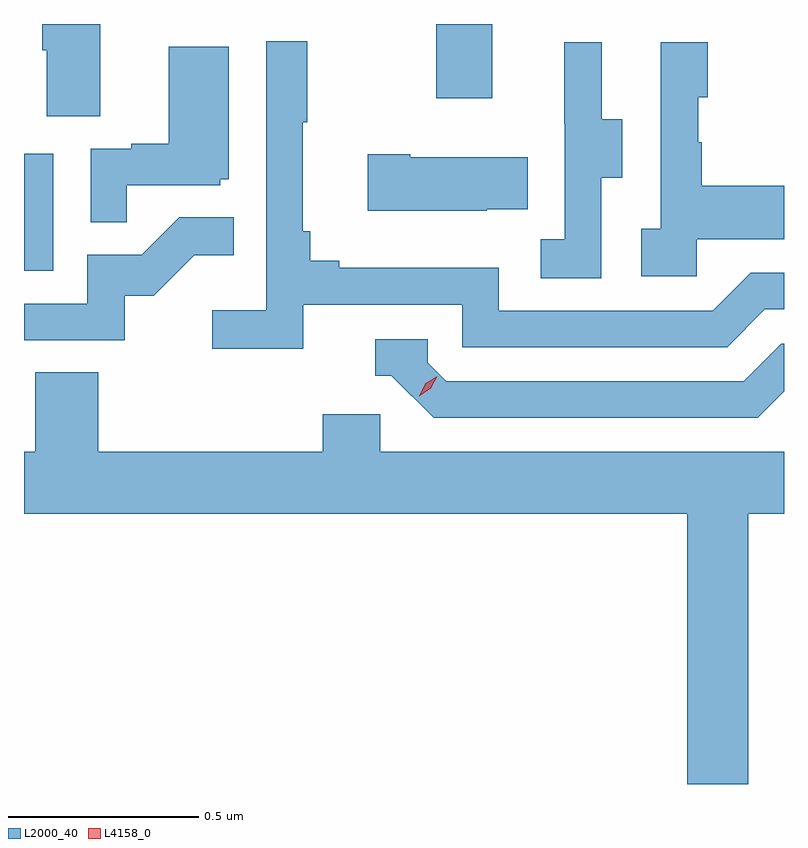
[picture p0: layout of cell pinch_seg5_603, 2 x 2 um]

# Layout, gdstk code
import gdstk
lib = gdstk.Library(unit=1e-6, precision=1e-09)
def R(c, l, rs):  # rectangles x0, y0, x1, y1
    for r in rs: c.add(gdstk.rectangle(r[:2], r[2:], *l))
def P(c, l, *ps):  # polygons
    for p in ps: c.add(gdstk.Polygon(p, *l))
L2000_40 = (2000, 40)
L4158_0 = (4158, 0)

pinch_seg5_603 = lib.new_cell('pinch_seg5_603')
R(pinch_seg5_603, L2000_40, [(1084.931,858.732,1085.008,859.039), (1086.016,859.185,1086.163,859.381)])
P(pinch_seg5_603, L2000_40, [(1085.131,859.381),(1084.979,859.381),(1084.979,859.312),(1084.991,859.312),(1084.991,859.138),(1085.131,859.138)],
  [(1085.666,858.642),(1086.084,858.642),(1086.084,858.531),(1086.781,858.531),(1086.88,858.63),(1086.931,858.63),(1086.931,858.726),(1086.843,858.726),(1086.744,858.627),(1086.18,858.627),(1086.18,858.739),(1085.761,858.739),(1085.761,858.758),(1085.684,858.758),(1085.684,858.835),(1085.665,858.835),(1085.665,859.123),(1085.677,859.123),(1085.677,859.336),(1085.568,859.336),(1085.568,858.628),(1085.427,858.628),(1085.427,858.526),(1085.666,858.526)],
  [(1086.45,858.976),(1086.505,858.976),(1086.505,859.131),(1086.451,859.131),(1086.451,859.333),(1086.353,859.333),(1086.353,859.119),(1086.354,859.119),(1086.354,858.815),(1086.291,858.815),(1086.291,858.712),(1086.45,858.712)],
  [(1086.702,858.815),(1086.931,858.815),(1086.931,858.955),(1086.715,858.955),(1086.715,859.07),(1086.705,859.07),(1086.705,859.188),(1086.73,859.188),(1086.73,859.333),(1086.606,859.333),(1086.606,858.842),(1086.555,858.842),(1086.555,858.717),(1086.702,858.717)],
  [(1085.201,858.957),(1085.448,858.957),(1085.448,858.972),(1085.47,858.972),(1085.47,859.321),(1085.312,859.321),(1085.312,859.066),(1085.213,859.066),(1085.213,859.053),(1085.106,859.053),(1085.106,858.859),(1085.201,858.859)],
  [(1086.149,858.893),(1086.257,858.893),(1086.257,859.03),(1085.947,859.03),(1085.947,859.038),(1085.835,859.038),(1085.835,858.89),(1086.149,858.89)],
  [(1085.196,858.666),(1085.272,858.666),(1085.379,858.773),(1085.483,858.773),(1085.483,858.872),(1085.339,858.872),(1085.241,858.774),(1085.097,858.774),(1085.097,858.645),(1084.931,858.645),(1084.931,858.549),(1085.196,858.549)],
  [(1086.931,858.414),(1086.931,858.54),(1086.924,858.54),(1086.825,858.441),(1086.042,858.441),(1085.994,858.489),(1085.994,858.552),(1085.855,858.552),(1085.855,858.456),(1085.898,858.456),(1086.009,858.345),(1086.862,858.345)],
  [(1086.837,858.092),(1086.931,858.092),(1086.931,858.256),(1085.868,858.256),(1085.868,858.354),(1085.717,858.354),(1085.717,858.256),(1085.126,858.256),(1085.126,858.464),(1084.961,858.464),(1084.961,858.256),(1084.931,858.256),(1084.931,858.092),(1086.677,858.092),(1086.677,857.381),(1086.837,857.381)])
P(pinch_seg5_603, L4158_0, [(1085.971,858.402),(1085.971,858.403),(1085.988,858.435),(1086.019,858.454),(1086.019,858.454),(1086.019,858.454),(1086.002,858.422),(1085.971,858.402)])

lib.write_gds('pinch_seg5_603.gds')
